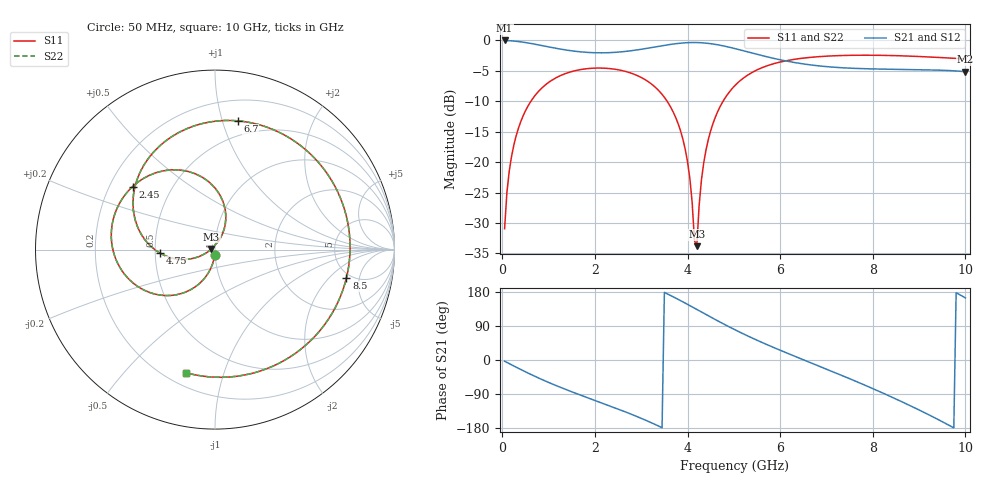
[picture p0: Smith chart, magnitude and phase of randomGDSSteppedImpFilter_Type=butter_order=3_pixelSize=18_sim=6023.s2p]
! freq	dB(S11)	phase(S11)	dB(S12)	phase(S12)
!  dB(S21)	phase(S21)	dB(S22)	phase(S22)
!S-par simulation data
#  GHz  S  DB  R 50
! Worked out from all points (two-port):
!   200 points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, 50 MHz to 10 GHz, reference 50 ohm
!   highest |S21| = -0.01 dB at 50 MHz (marker M1); lowest = -5.1 dB at 10 GHz (marker M2)
!   |S21| within 3 dB of the highest: start of sweep to 5.893 GHz
!   lowest |S11| = -33.8 dB at 4.2 GHz (marker M3), VSWR 1.04, Z = 48 + j0.365 ohm
!   |S11| at or under -10 dB: start of sweep to 619 MHz; 3.559 GHz to 4.768 GHz (1.209 GHz wide, 29 % of centre)
!   |S22| runs from -33.6 to -2.4 dB; largest |S21 - S12| = 0
!   S11 on the Smith chart (normalised r, x): 50 MHz: 1.00, -0.06; 2.45 GHz: 0.30, +0.31; 4.75 GHz: 0.53, -0.02; 6.7 GHz: 0.37, +1.12; 8.5 GHz: 4.56, -3.26; 10 GHz: 0.28, -0.75
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0.05  -30.94 -93.4  -0.01 -3.3  -0.01 -3.3  -30.94 -93.4
0.2  -19.06 -103.2  -0.08 -12.7  -0.08 -12.7  -19.06 -103.2
0.5  -11.58 -121.6  -0.35 -31.2  -0.35 -31.2  -11.58 -121.5
1.05  -6.64 -152.2  -1.14 -61.8  -1.14 -61.8  -6.64 -152.2
1.75  -4.73 174.1  -1.92 -95.4  -1.92 -95.4  -4.73 174.2
2.45  -4.76 142.6  -1.96 -127.2  -1.96 -127.2  -4.76 142.7
3.4  -8.44 95.1  -0.94 -175.8  -0.94 -175.8  -8.43 95.3
3.9  -16.25 68.0  -0.42 153.4  -0.42 153.4  -16.24 68.4
4.05  -22.68 64.6  -0.36 143.5  -0.36 143.5  -22.66 65.3
4.15  -32.92 93.2  -0.35 136.8  -0.35 136.8  -32.73 94.5
4.2  -33.82 169.3  -0.36 133.5  -0.36 133.5  -33.58 168.3
4.3  -22.97 -156.6  -0.39 126.7  -0.39 126.7  -22.95 -157.0
4.4  -17.96 -157.8  -0.45 120.0  -0.45 120.0  -17.95 -157.9
4.75  -10.23 -176.5  -0.87 96.9  -0.87 96.9  -10.23 -176.4
5.05  -7.22 165.8  -1.40 78.2  -1.40 78.2  -7.22 166.0
5.8  -3.97 124.9  -2.85 36.1  -2.85 36.1  -3.97 125.1
6.7  -2.75 80.1  -4.07 -9.2  -4.07 -9.2  -2.75 80.3
7.65  -2.44 32.8  -4.61 -57.0  -4.61 -57.0  -2.44 33.1
8.35  -2.48 -3.9  -4.74 -94.5  -4.74 -94.5  -2.48 -3.7
8.5  -2.51 -12.1  -4.76 -102.9  -4.76 -102.9  -2.51 -11.9
9.35  -2.78 -61.2  -4.87 -153.2  -4.87 -153.2  -2.78 -61.0
10  -3.04 -103.4  -5.15 163.9  -5.15 163.9  -3.04 -103.2
